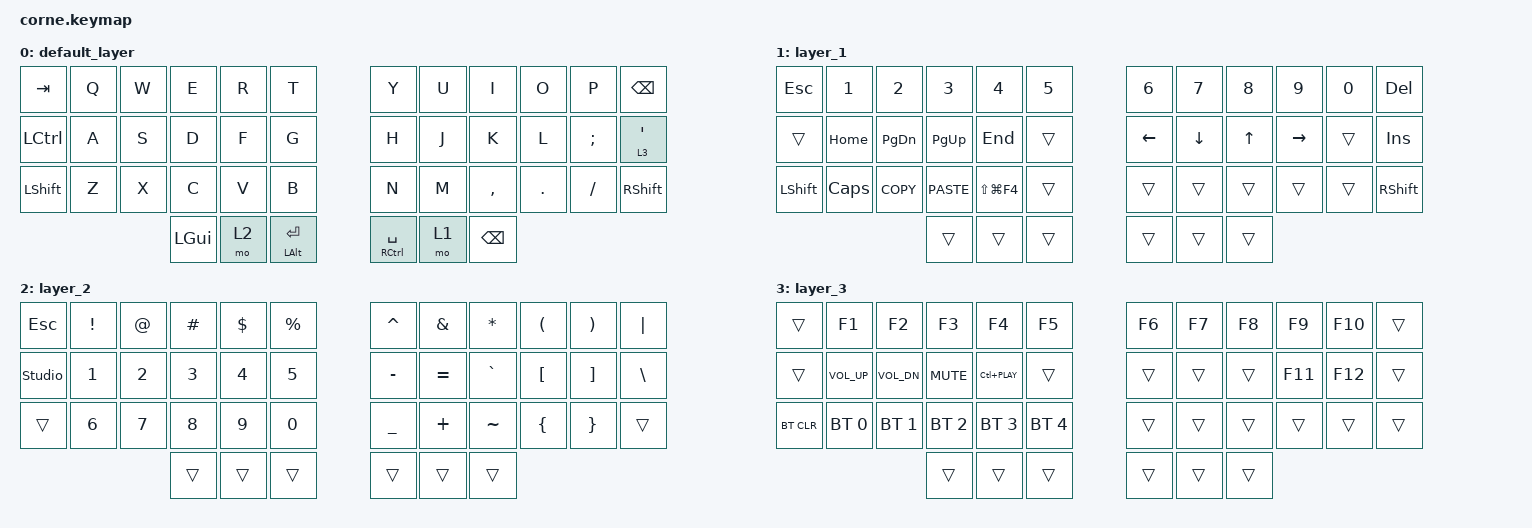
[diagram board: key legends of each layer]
/*
 * Copyright (c) 2020 The ZMK Contributors
 *
 * SPDX-License-Identifier: MIT
 */

#include <behaviors.dtsi>
#include <dt-bindings/zmk/bt.h>
#include <dt-bindings/zmk/keys.h>

/ {
    behaviors {
        tp: tap_preferred {
            compatible = "zmk,behavior-hold-tap";
            label = "TAP_PREFERRED";
            #binding-cells = <2>;
            tapping-term-ms = <300>;
            quick-tap-ms = <0>;
            flavor = "tap-preferred";
            bindings = <&kp>, <&kp>;
        };
    };

    keymap {
        compatible = "zmk,keymap";

        default_layer {
            // -----------------------------------------------------------------------------------------
            // | TAB  |  Q  |  W  |  E  |  R  |    T    |   |  Y  |  U   |  I  |  O  |  P  | ESC |
            // | CTRL |  A  |  S  |  D  |  F  |    G    |   |  H  |  J   |  K  |  L  |  ;  |  LWR/'   |
            // | SHFT |  Z  |  X  |  C  |  V  |    B    |   |  N  |  M   |  ,  |  .  |  /  | SHFT |
            //                    | GUI | LWR | ALT/ENT |   | HYPER/SPC | BKSP  | RSE |

            bindings = <
&kp TAB    &kp Q  &kp W  &kp E     &kp R  &kp T               &kp Y            &kp U  &kp I          &kp O    &kp P     &kp BACKSPACE
&kp LCTRL  &kp A  &kp S  &kp D     &kp F  &kp G               &kp H            &kp J  &kp K          &kp L    &kp SEMI  &lt 3 SQT
&kp LSHFT  &kp Z  &kp X  &kp C     &kp V  &kp B               &kp N            &kp M  &kp COMMA      &kp DOT  &kp FSLH  &kp RSHFT
                         &kp LGUI  &mo 2  &tp LEFT_ALT RET    &tp RCTRL SPACE  &mo 1  &kp BACKSPACE
            >;
        };

        layer_1 {
            // -----------------------------------------------------------------------------------------
            // |      |  !  |  @  |  #  |  $  |    %     |   |  ^  |  &  |  *  |  (  |  )  |   \   |
            // |      |  1  |  2  |  3  |  4  |    5     |   |  -  |  =  |  `  |  [  |  ]  |  "|"  |
            // | SHFT |  6  |  7  |  8  |  9  |    0     |   |  _  |  +  |  ~  |  {  |  }  | RSHFT |
            //                     | GUI |     | ALT/ENT |   | HYPER/SPACE | BKSP |    |

            bindings = <
&kp ESC    &kp NUMBER_1  &kp NUMBER_2   &kp NUMBER_3  &kp NUMBER_4    &kp N5    &kp NUMBER_6    &kp N7    &kp N8        &kp N9     &kp N0  &kp DEL
&trans     &kp HOME      &kp PAGE_DOWN  &kp PAGE_UP   &kp END         &trans    &kp LEFT_ARROW  &kp DOWN  &kp UP_ARROW  &kp RIGHT  &trans  &kp INSERT
&kp LSHFT  &kp CLCK      &kp K_COPY     &kp K_PASTE   &kp LS(LG(F4))  &trans    &trans          &trans    &trans        &trans     &trans  &kp RSHFT
                                        &trans        &trans          &trans    &trans          &trans    &trans
            >;
        };

        layer_2 {
            // -----------------------------------------------------------------------------------------
            // |       |  F1  |  F2  |  F3  |  F4  |  F5 |            |  F6  |  F7  |  F8  |  F9  |  F10  |   |
            // |       | Prev | Next | Vol - | Vol + | Play/Pause |   |      | LFT | DWN |  UP | RGT |     |     |
            // | BTCLR | BT1 | BT2 | BT3 | BT4 | BT5 |   |            |     |     |     |     |     |     |
            //                    |     |     |    |                  |     |     |     |

            bindings = <
&kp ESC         &kp EXCLAMATION  &kp AT_SIGN   &kp HASH      &kp DOLLAR    &kp PERCENT    &kp CARET       &kp AMPERSAND  &kp ASTERISK  &kp LEFT_PARENTHESIS  &kp RIGHT_PARENTHESIS  &kp PIPE
&studio_unlock  &kp NUMBER_1     &kp NUMBER_2  &kp NUMBER_3  &kp NUMBER_4  &kp N5         &kp MINUS       &kp EQUAL      &kp GRAVE     &kp LEFT_BRACKET      &kp RIGHT_BRACKET      &kp BACKSLASH
&trans          &kp NUMBER_6     &kp N7        &kp N8        &kp N9        &kp N0         &kp UNDERSCORE  &kp PLUS       &kp TILDE     &kp LEFT_BRACE        &kp RIGHT_BRACE        &trans
                                               &trans        &trans        &trans         &trans          &trans         &trans
            >;
        };

        layer_3 {
            bindings = <
&trans      &kp F1           &kp F2        &kp F3        &kp F4          &kp F5          &kp F6  &kp F7  &kp F8  &kp F9   &kp F10  &trans
&trans      &kp C_VOLUME_UP  &kp C_VOL_DN  &kp K_MUTE    &kp LC(C_PLAY)  &trans          &trans  &trans  &trans  &kp F11  &kp F12  &trans
&bt BT_CLR  &bt BT_SEL 0     &bt BT_SEL 1  &bt BT_SEL 2  &bt BT_SEL 3    &bt BT_SEL 4    &trans  &trans  &trans  &trans   &trans   &trans
                                           &trans        &trans          &trans          &trans  &trans  &trans
            >;
        };
    };
};
